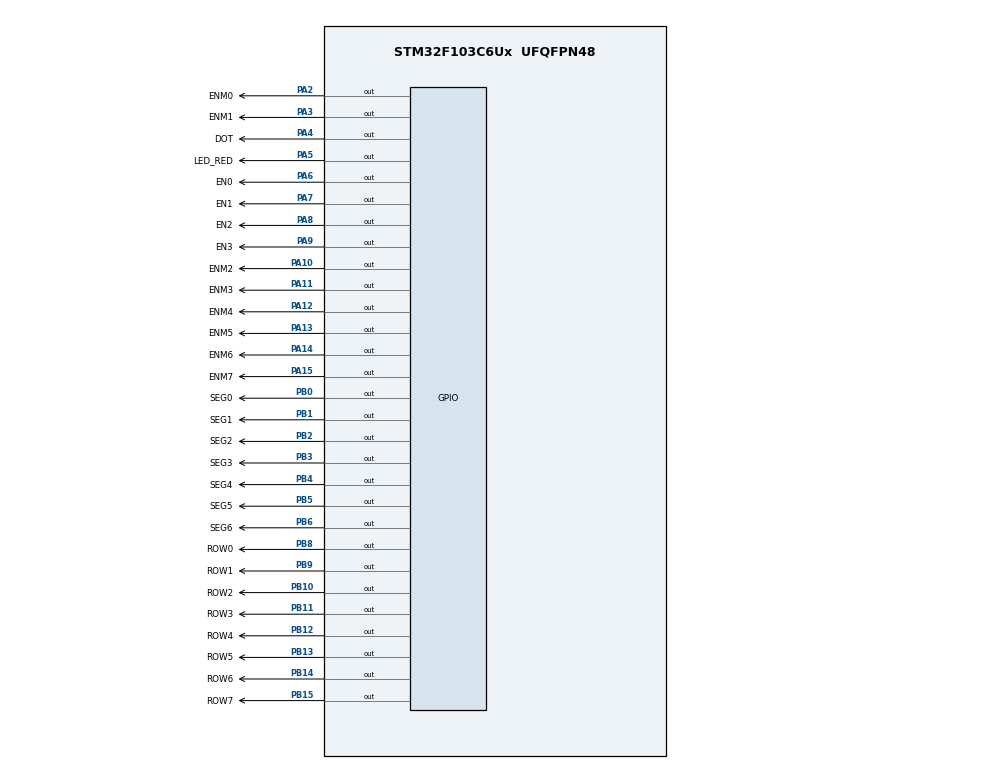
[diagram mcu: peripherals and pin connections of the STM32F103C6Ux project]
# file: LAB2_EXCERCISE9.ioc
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Mcu.Family=STM32F1
Mcu.Name=STM32F103C6Ux
Mcu.Package=UFQFPN48
NVIC.PriorityGroup=NVIC_PRIORITYGROUP_4
NVIC.TIM2_IRQn=true\:0\:0\:false\:false\:true\:true\:true
PA10.GPIO_Label=ENM2
PA10.Signal=GPIO_Output
PA11.GPIO_Label=ENM3
PA11.Signal=GPIO_Output
PA12.GPIO_Label=ENM4
PA12.Signal=GPIO_Output
PA13.GPIO_Label=ENM5
PA13.Signal=GPIO_Output
PA14.GPIO_Label=ENM6
PA14.Signal=GPIO_Output
PA15.GPIO_Label=ENM7
PA15.Signal=GPIO_Output
PA2.GPIO_Label=ENM0
PA2.Signal=GPIO_Output
PA3.GPIO_Label=ENM1
PA3.Signal=GPIO_Output
PA4.GPIO_Label=DOT
PA4.Signal=GPIO_Output
PA5.GPIO_Label=LED_RED
PA5.Signal=GPIO_Output
PA6.GPIO_Label=EN0
PA6.Signal=GPIO_Output
PA7.GPIO_Label=EN1
PA7.Signal=GPIO_Output
PA8.GPIO_Label=EN2
PA8.Signal=GPIO_Output
PA9.GPIO_Label=EN3
PA9.Signal=GPIO_Output
PB0.GPIO_Label=SEG0
PB0.Signal=GPIO_Output
PB1.GPIO_Label=SEG1
PB1.Signal=GPIO_Output
PB10.GPIO_Label=ROW2
PB10.Signal=GPIO_Output
PB11.GPIO_Label=ROW3
PB11.Signal=GPIO_Output
PB12.GPIO_Label=ROW4
PB12.Signal=GPIO_Output
PB13.GPIO_Label=ROW5
PB13.Signal=GPIO_Output
PB14.GPIO_Label=ROW6
PB14.Signal=GPIO_Output
PB15.GPIO_Label=ROW7
PB15.Signal=GPIO_Output
PB2.GPIO_Label=SEG2
PB2.Signal=GPIO_Output
PB3.GPIO_Label=SEG3
PB3.Signal=GPIO_Output
PB4.GPIO_Label=SEG4
PB4.Signal=GPIO_Output
PB5.GPIO_Label=SEG5
PB5.Signal=GPIO_Output
PB6.GPIO_Label=SEG6
PB6.Signal=GPIO_Output
PB8.GPIO_Label=ROW0
PB8.Signal=GPIO_Output
PB9.GPIO_Label=ROW1
PB9.Signal=GPIO_Output
ProjectManager.HeapSize=0x200
ProjectManager.StackSize=0x400
ProjectManager.TargetToolchain=STM32CubeIDE
RCC.APB1Freq_Value=8000000
RCC.APB2Freq_Value=8000000
TIM2.Period=9
TIM2.Prescaler=7999
VP_SYS_VS_ND.Mode=No_Debug
VP_TIM2_VS_ClockSourceINT.Mode=Internal
board=custom

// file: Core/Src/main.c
/* USER CODE BEGIN Header */
/**
  ******************************************************************************
  * @file           : main.c
  * @brief          : Main program body
  ******************************************************************************
  * @attention
  *
  * <h2><center>&copy; Copyright (c) 2025 STMicroelectronics.
  * All rights reserved.</center></h2>
  *
  * This software component is licensed by ST under BSD 3-Clause license,
  * the "License"; You may not use this file except in compliance with the
  * License. You may obtain a copy of the License at:
  *                        opensource.org/licenses/BSD-3-Clause
  *
  ******************************************************************************
  */
/* USER CODE END Header */
#include "main.h"

TIM_HandleTypeDef htim2;

/* USER CODE BEGIN PV */
int led_buffer[4] = {1,5,5,9};
int hour = 15, minute = 59, second = 55;
void display7SEG(int num) {
    switch (num) {
        case 0:
            HAL_GPIO_WritePin(GPIOB, SEG0_Pin, RESET);
            HAL_GPIO_WritePin(GPIOB, SEG1_Pin, RESET);
            HAL_GPIO_WritePin(GPIOB, SEG2_Pin, RESET);
            HAL_GPIO_WritePin(GPIOB, SEG3_Pin, RESET);
            HAL_GPIO_WritePin(GPIOB, SEG4_Pin, RESET);
            HAL_GPIO_WritePin(GPIOB, SEG5_Pin, RESET);
            HAL_GPIO_WritePin(GPIOB, SEG6_Pin, SET);  // g = off
            break;

        case 1:
            HAL_GPIO_WritePin(GPIOB, SEG0_Pin, SET);
            HAL_GPIO_WritePin(GPIOB, SEG1_Pin, RESET);
            HAL_GPIO_WritePin(GPIOB, SEG2_Pin, RESET);
            HAL_GPIO_WritePin(GPIOB, SEG3_Pin, SET);
            HAL_GPIO_WritePin(GPIOB, SEG4_Pin, SET);
            HAL_GPIO_WritePin(GPIOB, SEG5_Pin, SET);
            HAL_GPIO_WritePin(GPIOB, SEG6_Pin, SET);
            break;

        case 2:
            HAL_GPIO_WritePin(GPIOB, SEG0_Pin, RESET);
            HAL_GPIO_WritePin(GPIOB, SEG1_Pin, RESET);
            HAL_GPIO_WritePin(GPIOB, SEG2_Pin, SET);
            HAL_GPIO_WritePin(GPIOB, SEG3_Pin, RESET);
            HAL_GPIO_WritePin(GPIOB, SEG4_Pin, RESET);
            HAL_GPIO_WritePin(GPIOB, SEG5_Pin, SET);
            HAL_GPIO_WritePin(GPIOB, SEG6_Pin, RESET);
            break;

        case 3:
            HAL_GPIO_WritePin(GPIOB, SEG0_Pin, RESET);
            HAL_GPIO_WritePin(GPIOB, SEG1_Pin, RESET);
            HAL_GPIO_WritePin(GPIOB, SEG2_Pin, RESET);
            HAL_GPIO_WritePin(GPIOB, SEG3_Pin, RESET);
            HAL_GPIO_WritePin(GPIOB, SEG4_Pin, SET);
            HAL_GPIO_WritePin(GPIOB, SEG5_Pin, SET);
            HAL_GPIO_WritePin(GPIOB, SEG6_Pin, RESET);
            break;

        case 4:
            HAL_GPIO_WritePin(GPIOB, SEG0_Pin, SET);
            HAL_GPIO_WritePin(GPIOB, SEG1_Pin, RESET);
            HAL_GPIO_WritePin(GPIOB, SEG2_Pin, RESET);
            HAL_GPIO_WritePin(GPIOB, SEG3_Pin, SET);
            HAL_GPIO_WritePin(GPIOB, SEG4_Pin, SET);
            HAL_GPIO_WritePin(GPIOB, SEG5_Pin, RESET);
            HAL_GPIO_WritePin(GPIOB, SEG6_Pin, RESET);
            break;

        case 5:
            HAL_GPIO_WritePin(GPIOB, SEG0_Pin, RESET);
            HAL_GPIO_WritePin(GPIOB, SEG1_Pin, SET);
            HAL_GPIO_WritePin(GPIOB, SEG2_Pin, RESET);
            HAL_GPIO_WritePin(GPIOB, SEG3_Pin, RESET);
            HAL_GPIO_WritePin(GPIOB, SEG4_Pin, SET);
            HAL_GPIO_WritePin(GPIOB, SEG5_Pin, RESET);
            HAL_GPIO_WritePin(GPIOB, SEG6_Pin, RESET);
            break;

        case 6:
            HAL_GPIO_WritePin(GPIOB, SEG0_Pin, RESET);
            HAL_GPIO_WritePin(GPIOB, SEG1_Pin, SET);
            HAL_GPIO_WritePin(GPIOB, SEG2_Pin, RESET);
            HAL_GPIO_WritePin(GPIOB, SEG3_Pin, RESET);
            HAL_GPIO_WritePin(GPIOB, SEG4_Pin, RESET);
            HAL_GPIO_WritePin(GPIOB, SEG5_Pin, RESET);
            HAL_GPIO_WritePin(GPIOB, SEG6_Pin, RESET);
            break;

        case 7:
            HAL_GPIO_WritePin(GPIOB, SEG0_Pin, RESET);
            HAL_GPIO_WritePin(GPIOB, SEG1_Pin, RESET);
            HAL_GPIO_WritePin(GPIOB, SEG2_Pin, RESET);
            HAL_GPIO_WritePin(GPIOB, SEG3_Pin, SET);
            HAL_GPIO_WritePin(GPIOB, SEG4_Pin, SET);
            HAL_GPIO_WritePin(GPIOB, SEG5_Pin, SET);
            HAL_GPIO_WritePin(GPIOB, SEG6_Pin, SET);
            break;

        case 8:
            HAL_GPIO_WritePin(GPIOB, SEG0_Pin, RESET);
            HAL_GPIO_WritePin(GPIOB, SEG1_Pin, RESET);
            HAL_GPIO_WritePin(GPIOB, SEG2_Pin, RESET);
            HAL_GPIO_WritePin(GPIOB, SEG3_Pin, RESET);
            HAL_GPIO_WritePin(GPIOB, SEG4_Pin, RESET);
            HAL_GPIO_WritePin(GPIOB, SEG5_Pin, RESET);
            HAL_GPIO_WritePin(GPIOB, SEG6_Pin, RESET);
            break;

        case 9:
            HAL_GPIO_WritePin(GPIOB, SEG0_Pin, RESET);
            HAL_GPIO_WritePin(GPIOB, SEG1_Pin, RESET);
            HAL_GPIO_WritePin(GPIOB, SEG2_Pin, RESET);
            HAL_GPIO_WritePin(GPIOB, SEG3_Pin, RESET);
            HAL_GPIO_WritePin(GPIOB, SEG4_Pin, SET);
            HAL_GPIO_WritePin(GPIOB, SEG5_Pin, RESET);
            HAL_GPIO_WritePin(GPIOB, SEG6_Pin, RESET);
            break;

        default:
            HAL_GPIO_WritePin(GPIOB, SEG0_Pin|SEG1_Pin|SEG2_Pin|
                                       SEG3_Pin|SEG4_Pin|SEG5_Pin|SEG6_Pin, SET);
            break;
    }
}
/* USER CODE END PV */

void SystemClock_Config(void);
static void MX_GPIO_Init(void);
static void MX_TIM2_Init(void);

/* USER CODE BEGIN 0 */
int timer2_counter = 0;
int timer2_flag = 0;
int timer3_counter = 0;
int timer3_flag = 0;
int timer0_counter = 0;
int timer0_flag = 0;
int TIMER_CYCLE = 10;
int timer1_counter = 0;
int timer1_flag = 0;
void updateClockBuffer(){
	  led_buffer[0] = hour/10;
	  led_buffer[1] = hour%10;
	  led_buffer[2] = minute/10;
	  led_buffer[3] = minute%10;
}

void setTimer0(int duration ){
	timer0_counter = duration/TIMER_CYCLE;
	timer0_flag = 0;
}
void setTimer1(int duration ){
	timer1_counter = duration/TIMER_CYCLE;
	timer1_flag = 0;
}
int index_led = 0;

 void update7SEG(int index){
	  if (index >= 4) index = 0;
	  switch (index){
		  case 0:
			  // TO D0
			  HAL_GPIO_WritePin(GPIOA, EN0_Pin, RESET);
			  HAL_GPIO_WritePin(GPIOA, EN1_Pin, SET);
			  HAL_GPIO_WritePin(GPIOA, EN2_Pin, SET);
			  HAL_GPIO_WritePin(GPIOA, EN3_Pin, SET);
			  display7SEG(led_buffer[0]);
			  break;
		  case 1:
			  HAL_GPIO_WritePin(GPIOA, EN0_Pin, SET);
			  HAL_GPIO_WritePin(GPIOA, EN1_Pin, RESET);
			  HAL_GPIO_WritePin(GPIOA, EN2_Pin, SET);
			  HAL_GPIO_WritePin(GPIOA, EN3_Pin, SET);
			  display7SEG(led_buffer[1]);
			  break;
		  case 2:
			  HAL_GPIO_WritePin(GPIOA, EN0_Pin, SET);
			  HAL_GPIO_WritePin(GPIOA, EN1_Pin, SET);
			  HAL_GPIO_WritePin(GPIOA, EN2_Pin, RESET);
			  HAL_GPIO_WritePin(GPIOA, EN3_Pin, SET);
			  display7SEG(led_buffer[2]);
			  break;
		  case 3:
			  HAL_GPIO_WritePin(GPIOA, EN0_Pin, SET);
			  HAL_GPIO_WritePin(GPIOA, EN1_Pin, SET);
			  HAL_GPIO_WritePin(GPIOA, EN2_Pin, SET);
			  HAL_GPIO_WritePin(GPIOA, EN3_Pin, RESET);
			  display7SEG(led_buffer[3]);
			  break;
		  default:
			  HAL_GPIO_WritePin(GPIOA, EN0_Pin, SET);
			  HAL_GPIO_WritePin(GPIOA, EN1_Pin, SET);
			  HAL_GPIO_WritePin(GPIOA, EN2_Pin, SET);
			  HAL_GPIO_WritePin(GPIOA, EN3_Pin, SET);
			  display7SEG(0);
			  break;

	  }
  }
void setTimer2(int duration){
	  timer2_flag = 0;
	  timer2_counter = duration;
}
void setTimer3(int duration){
	  timer3_flag = 0;
	  timer3_counter = duration;
}
void time_run(){
	if (timer2_counter > 0){
		timer2_counter--;
		if (timer2_counter == 0) timer2_flag = 1;
	}
	if (timer3_counter > 0){
		timer3_counter--;
		if (timer3_counter == 0) timer3_flag = 1;
	}
	if (timer0_counter > 0){
		timer0_counter--;
		if (timer0_counter == 0) timer0_flag = 1;
	}
	if (timer1_counter > 0){
		timer1_counter--;
		if (timer1_counter == 0) timer1_flag = 1;
	}
}

/* USER CODE END 0 */

int main(void)
{

  /* MCU Configuration--------------------------------------------------------*/

  /* Reset of all peripherals, Initializes the Flash interface and the Systick. */
  HAL_Init();

  /* Configure the system clock */
  SystemClock_Config();

  /* Initialize all configured peripherals */
  MX_GPIO_Init();
  MX_TIM2_Init();
  /* USER CODE BEGIN 2 */
  HAL_TIM_Base_Start_IT(&htim2);
  /* USER CODE END 2 */

  /* Infinite loop */
  /* USER CODE BEGIN WHILE */

  const int MAX_LED_MATRIX = 8;
  int index_led_matrix = 0;
  uint8_t matrix_buffer[8] = {
		    0x18, //   00011000
		    0x24, //   00100100
		    0x42, //   01000010
		    0x42, //   01000010
		    0x7E, //   01111110
		    0x42, //   01000010
		    0x42, //   01000010
		    0x00  //   00000000
  };
  void updateLEDMatrix(int index){
	  if (index >= 8) index = 0;
	  switch(index){
	  case 0:
		  HAL_GPIO_WritePin(GPIOA, ENM0_Pin, RESET);
		  HAL_GPIO_WritePin(GPIOA, ENM1_Pin, SET);
		  HAL_GPIO_WritePin(GPIOA, ENM2_Pin,SET);
		  HAL_GPIO_WritePin(GPIOA, ENM3_Pin, SET);
		  HAL_GPIO_WritePin(GPIOA, ENM4_Pin, SET);
		  HAL_GPIO_WritePin(GPIOA, ENM5_Pin, SET);
		  HAL_GPIO_WritePin(GPIOA, ENM6_Pin, SET);
		  HAL_GPIO_WritePin(GPIOA, ENM7_Pin, SET);
		  break;
	  case 1:
		  HAL_GPIO_WritePin(GPIOA, ENM0_Pin, SET);
		  HAL_GPIO_WritePin(GPIOA, ENM1_Pin, RESET);
		  HAL_GPIO_WritePin(GPIOA, ENM2_Pin,SET);
		  HAL_GPIO_WritePin(GPIOA, ENM3_Pin, SET);
		  HAL_GPIO_WritePin(GPIOA, ENM4_Pin, SET);
		  HAL_GPIO_WritePin(GPIOA, ENM5_Pin, SET);
		  HAL_GPIO_WritePin(GPIOA, ENM6_Pin, SET);
		  HAL_GPIO_WritePin(GPIOA, ENM7_Pin, SET);
		  break;
	  case 2:
		  HAL_GPIO_WritePin(GPIOA, ENM0_Pin, SET);
		  HAL_GPIO_WritePin(GPIOA, ENM1_Pin, SET);
		  HAL_GPIO_WritePin(GPIOA, ENM2_Pin,RESET);
		  HAL_GPIO_WritePin(GPIOA, ENM3_Pin, SET);
		  HAL_GPIO_WritePin(GPIOA, ENM4_Pin, SET);
		  HAL_GPIO_WritePin(GPIOA, ENM5_Pin, SET);
		  HAL_GPIO_WritePin(GPIOA, ENM6_Pin, SET);
		  HAL_GPIO_WritePin(GPIOA, ENM7_Pin, SET);
		  break;
	  case 3:
		  HAL_GPIO_WritePin(GPIOA, ENM0_Pin, SET);
		  HAL_GPIO_WritePin(GPIOA, ENM1_Pin, SET);
		  HAL_GPIO_WritePin(GPIOA, ENM2_Pin,SET);
		  HAL_GPIO_WritePin(GPIOA, ENM3_Pin, RESET);
		  HAL_GPIO_WritePin(GPIOA, ENM4_Pin, SET);
		  HAL_GPIO_WritePin(GPIOA, ENM5_Pin, SET);
		  HAL_GPIO_WritePin(GPIOA, ENM6_Pin, SET);
		  HAL_GPIO_WritePin(GPIOA, ENM7_Pin, SET);
		  break;
	  case 4:
		  HAL_GPIO_WritePin(GPIOA, ENM0_Pin, SET);
		  HAL_GPIO_WritePin(GPIOA, ENM1_Pin, SET);
		  HAL_GPIO_WritePin(GPIOA, ENM2_Pin,SET);
		  HAL_GPIO_WritePin(GPIOA, ENM3_Pin, SET);
		  HAL_GPIO_WritePin(GPIOA, ENM4_Pin, RESET);
		  HAL_GPIO_WritePin(GPIOA, ENM5_Pin, SET);
		  HAL_GPIO_WritePin(GPIOA, ENM6_Pin, SET);
		  HAL_GPIO_WritePin(GPIOA, ENM7_Pin, SET);
		  break;
	  case 5:
		  HAL_GPIO_WritePin(GPIOA, ENM0_Pin, SET);
		  HAL_GPIO_WritePin(GPIOA, ENM1_Pin, SET);
		  HAL_GPIO_WritePin(GPIOA, ENM2_Pin,SET);
		  HAL_GPIO_WritePin(GPIOA, ENM3_Pin, SET);
		  HAL_GPIO_WritePin(GPIOA, ENM4_Pin, SET);
		  HAL_GPIO_WritePin(GPIOA, ENM5_Pin, RESET);
		  HAL_GPIO_WritePin(GPIOA, ENM6_Pin, SET);
		  HAL_GPIO_WritePin(GPIOA, ENM7_Pin, SET);
		  break;
	  case 6:
		  HAL_GPIO_WritePin(GPIOA, ENM0_Pin, SET);
		  HAL_GPIO_WritePin(GPIOA, ENM1_Pin, SET);
		  HAL_GPIO_WritePin(GPIOA, ENM2_Pin,SET);
		  HAL_GPIO_WritePin(GPIOA, ENM3_Pin, SET);
		  HAL_GPIO_WritePin(GPIOA, ENM4_Pin, SET);
		  HAL_GPIO_WritePin(GPIOA, ENM5_Pin, SET);
		  HAL_GPIO_WritePin(GPIOA, ENM6_Pin, RESET);
		  HAL_GPIO_WritePin(GPIOA, ENM7_Pin, SET);
		  break;
	  case 7:
		  HAL_GPIO_WritePin(GPIOA, ENM0_Pin, SET);
		  HAL_GPIO_WritePin(GPIOA, ENM1_Pin, SET);
		  HAL_GPIO_WritePin(GPIOA, ENM2_Pin,SET);
		  HAL_GPIO_WritePin(GPIOA, ENM3_Pin, SET);
		  HAL_GPIO_WritePin(GPIOA, ENM4_Pin, SET);
		  HAL_GPIO_WritePin(GPIOA, ENM5_Pin, SET);
		  HAL_GPIO_WritePin(GPIOA, ENM6_Pin, SET);
		  HAL_GPIO_WritePin(GPIOA, ENM7_Pin, RESET);
		  break;
	  default:
		  HAL_GPIO_WritePin(GPIOA, ENM0_Pin, SET);
		  HAL_GPIO_WritePin(GPIOA, ENM1_Pin, SET);
		  HAL_GPIO_WritePin(GPIOA, ENM2_Pin,SET);
		  HAL_GPIO_WritePin(GPIOA, ENM3_Pin, SET);
		  HAL_GPIO_WritePin(GPIOA, ENM4_Pin, SET);
		  HAL_GPIO_WritePin(GPIOA, ENM5_Pin, SET);
		  HAL_GPIO_WritePin(GPIOA, ENM6_Pin, SET);
		  HAL_GPIO_WritePin(GPIOA, ENM7_Pin, SET);
		  break;
	  }
  }
  void updateROW(int index){
	  if (index >= 8) index = index%8;
	  switch(index){
	  case 0:
		  HAL_GPIO_WritePin(GPIOB, ROW0_Pin, SET);
		  HAL_GPIO_WritePin(GPIOB, ROW1_Pin, SET);
		  HAL_GPIO_WritePin(GPIOB, ROW2_Pin,SET);
		  HAL_GPIO_WritePin(GPIOB, ROW3_Pin, SET);
		  HAL_GPIO_WritePin(GPIOB, ROW4_Pin, SET);
		  HAL_GPIO_WritePin(GPIOB, ROW5_Pin, SET);
		  HAL_GPIO_WritePin(GPIOB, ROW6_Pin, SET);
		  HAL_GPIO_WritePin(GPIOB, ROW7_Pin, SET);
		  break;
	  case 1:
		  HAL_GPIO_WritePin(GPIOB, ROW0_Pin, SET);
		  HAL_GPIO_WritePin(GPIOB, ROW1_Pin, SET);
		  HAL_GPIO_WritePin(GPIOB, ROW2_Pin,RESET);
		  HAL_GPIO_WritePin(GPIOB, ROW3_Pin, RESET);
		  HAL_GPIO_WritePin(GPIOB, ROW4_Pin, RESET);
		  HAL_GPIO_WritePin(GPIOB, ROW5_Pin, RESET);
		  HAL_GPIO_WritePin(GPIOB, ROW6_Pin, RESET);
		  HAL_GPIO_WritePin(GPIOB, ROW7_Pin, SET);
		  break;
	  case 2:
		  HAL_GPIO_WritePin(GPIOB, ROW0_Pin, SET);
		  HAL_GPIO_WritePin(GPIOB, ROW1_Pin, RESET);
		  HAL_GPIO_WritePin(GPIOB, ROW2_Pin,SET);
		  HAL_GPIO_WritePin(GPIOB, ROW3_Pin, SET);
		  HAL_GPIO_WritePin(GPIOB, ROW4_Pin, RESET);
		  HAL_GPIO_WritePin(GPIOB, ROW5_Pin, SET);
		  HAL_GPIO_WritePin(GPIOB, ROW6_Pin, SET);
		  HAL_GPIO_WritePin(GPIOB, ROW7_Pin, SET);
		  break;
	  case 3:
		  HAL_GPIO_WritePin(GPIOB, ROW0_Pin, RESET);
		  HAL_GPIO_WritePin(GPIOB, ROW1_Pin, SET);
		  HAL_GPIO_WritePin(GPIOB, ROW2_Pin,SET);
		  HAL_GPIO_WritePin(GPIOB, ROW3_Pin, SET);
		  HAL_GPIO_WritePin(GPIOB, ROW4_Pin, RESET);
		  HAL_GPIO_WritePin(GPIOB, ROW5_Pin, SET);
		  HAL_GPIO_WritePin(GPIOB, ROW6_Pin, SET);
		  HAL_GPIO_WritePin(GPIOB, ROW7_Pin, SET);
		  break;
	  case 4:
		  HAL_GPIO_WritePin(GPIOB, ROW0_Pin, RESET);
		  HAL_GPIO_WritePin(GPIOB, ROW1_Pin, SET);
		  HAL_GPIO_WritePin(GPIOB, ROW2_Pin,SET);
		  HAL_GPIO_WritePin(GPIOB, ROW3_Pin, SET);
		  HAL_GPIO_WritePin(GPIOB, ROW4_Pin, RESET);
		  HAL_GPIO_WritePin(GPIOB, ROW5_Pin, SET);
		  HAL_GPIO_WritePin(GPIOB, ROW6_Pin, SET);
		  HAL_GPIO_WritePin(GPIOB, ROW7_Pin, SET);
		  break;
	  case 5:
		  HAL_GPIO_WritePin(GPIOB, ROW0_Pin, SET);
		  HAL_GPIO_WritePin(GPIOB, ROW1_Pin, RESET);
		  HAL_GPIO_WritePin(GPIOB, ROW2_Pin,SET);
		  HAL_GPIO_WritePin(GPIOB, ROW3_Pin, SET);
		  HAL_GPIO_WritePin(GPIOB, ROW4_Pin, RESET);
		  HAL_GPIO_WritePin(GPIOB, ROW5_Pin, SET);
		  HAL_GPIO_WritePin(GPIOB, ROW6_Pin, SET);
		  HAL_GPIO_WritePin(GPIOB, ROW7_Pin, SET);
		  break;
	  case 6:
		  HAL_GPIO_WritePin(GPIOB, ROW0_Pin, SET);
		  HAL_GPIO_WritePin(GPIOB, ROW1_Pin, SET);
		  HAL_GPIO_WritePin(GPIOB, ROW2_Pin, RESET);
		  HAL_GPIO_WritePin(GPIOB, ROW3_Pin, RESET);
		  HAL_GPIO_WritePin(GPIOB, ROW4_Pin, RESET);
		  HAL_GPIO_WritePin(GPIOB, ROW5_Pin, RESET);
		  HAL_GPIO_WritePin(GPIOB, ROW6_Pin, RESET);
		  HAL_GPIO_WritePin(GPIOB, ROW7_Pin, SET);
		  break;
	  case 7:
		  HAL_GPIO_WritePin(GPIOB, ROW0_Pin, SET);
		  HAL_GPIO_WritePin(GPIOB, ROW1_Pin, SET);
		  HAL_GPIO_WritePin(GPIOB, ROW2_Pin,SET);
		  HAL_GPIO_WritePin(GPIOB, ROW3_Pin, SET);
		  HAL_GPIO_WritePin(GPIOB, ROW4_Pin, SET);
		  HAL_GPIO_WritePin(GPIOB, ROW5_Pin, SET);
		  HAL_GPIO_WritePin(GPIOB, ROW6_Pin, SET);
		  HAL_GPIO_WritePin(GPIOB, ROW7_Pin, SET);
		  break;
	  default:
		  HAL_GPIO_WritePin(GPIOB, ROW0_Pin, SET);
		  HAL_GPIO_WritePin(GPIOB, ROW1_Pin, SET);
		  HAL_GPIO_WritePin(GPIOB, ROW2_Pin,SET);
		  HAL_GPIO_WritePin(GPIOB, ROW3_Pin, SET);
		  HAL_GPIO_WritePin(GPIOB, ROW4_Pin, SET);
		  HAL_GPIO_WritePin(GPIOB, ROW5_Pin, SET);
		  HAL_GPIO_WritePin(GPIOB, ROW6_Pin, SET);
		  HAL_GPIO_WritePin(GPIOB, ROW7_Pin, SET);
		  break;
	  }
  }

  setTimer2(2);
  int index_col = 0;
  setTimer3(100);
  int shift_col = 0;
  setTimer0(1000);
  setTimer1(1000);
  while (1)
  {
		if (timer0_flag == 1){
			  setTimer0(1000);
			  HAL_GPIO_TogglePin(GPIOA, LED_RED_Pin);
			  HAL_GPIO_TogglePin(GPIOA, DOT_Pin);
			  second++;
			  if ( second >= 60) {
				  second = 0;
				  minute ++;
			  }
			  if ( minute >= 60) {
				  minute = 0;
				  hour ++;
			  }
			  if (hour >= 24){
				  hour = 0;
			  }
			  updateClockBuffer();
		}
		if (timer1_flag == 1){
			setTimer1(250);
			update7SEG(index_led++);
			if (index_led >=4) index_led = 0;
		}
	  if (timer2_flag == 1){
		  setTimer2(2);
		  updateLEDMatrix(index_col);
		  updateROW(index_col + shift_col);
		  index_col++;
		  if (index_col >=8) index_col = 0;
	  }
	  if (timer3_flag == 1){
		  setTimer3(100);
		  shift_col++;
		  if (shift_col >=8) shift_col = 0;
	  }

    /* USER CODE END WHILE */

  }
}

void SystemClock_Config(void)
{
  RCC_OscInitTypeDef RCC_OscInitStruct = {0};
  RCC_ClkInitTypeDef RCC_ClkInitStruct = {0};

  /** Initializes the RCC Oscillators according to the specified parameters
  * in the RCC_OscInitTypeDef structure.
  */
  RCC_OscInitStruct.OscillatorType = RCC_OSCILLATORTYPE_HSI;
  RCC_OscInitStruct.HSIState = RCC_HSI_ON;
  RCC_OscInitStruct.HSICalibrationValue = RCC_HSICALIBRATION_DEFAULT;
  RCC_OscInitStruct.PLL.PLLState = RCC_PLL_NONE;
  if (HAL_RCC_OscConfig(&RCC_OscInitStruct) != HAL_OK)
  {
    Error_Handler();
  }
  /** Initializes the CPU, AHB and APB buses clocks
  */
  RCC_ClkInitStruct.ClockType = RCC_CLOCKTYPE_HCLK|RCC_CLOCKTYPE_SYSCLK
                              |RCC_CLOCKTYPE_PCLK1|RCC_CLOCKTYPE_PCLK2;
  RCC_ClkInitStruct.SYSCLKSource = RCC_SYSCLKSOURCE_HSI;
  RCC_ClkInitStruct.AHBCLKDivider = RCC_SYSCLK_DIV1;
  RCC_ClkInitStruct.APB1CLKDivider = RCC_HCLK_DIV1;
  RCC_ClkInitStruct.APB2CLKDivider = RCC_HCLK_DIV1;

  if (HAL_RCC_ClockConfig(&RCC_ClkInitStruct, FLASH_LATENCY_0) != HAL_OK)
  {
    Error_Handler();
  }
}

static void MX_TIM2_Init(void)
{

  TIM_ClockConfigTypeDef sClockSourceConfig = {0};
  TIM_MasterConfigTypeDef sMasterConfig = {0};

  htim2.Instance = TIM2;
  htim2.Init.Prescaler = 7999;
  htim2.Init.CounterMode = TIM_COUNTERMODE_UP;
  htim2.Init.Period = 9;
  htim2.Init.ClockDivision = TIM_CLOCKDIVISION_DIV1;
  htim2.Init.AutoReloadPreload = TIM_AUTORELOAD_PRELOAD_DISABLE;
  if (HAL_TIM_Base_Init(&htim2) != HAL_OK)
  {
    Error_Handler();
  }
  sClockSourceConfig.ClockSource = TIM_CLOCKSOURCE_INTERNAL;
  if (HAL_TIM_ConfigClockSource(&htim2, &sClockSourceConfig) != HAL_OK)
  {
    Error_Handler();
  }
  sMasterConfig.MasterOutputTrigger = TIM_TRGO_RESET;
  sMasterConfig.MasterSlaveMode = TIM_MASTERSLAVEMODE_DISABLE;
  if (HAL_TIMEx_MasterConfigSynchronization(&htim2, &sMasterConfig) != HAL_OK)
  {
    Error_Handler();
  }

}

static void MX_GPIO_Init(void)
{
  GPIO_InitTypeDef GPIO_InitStruct = {0};

  /* GPIO Ports Clock Enable */
  __HAL_RCC_GPIOA_CLK_ENABLE();
  __HAL_RCC_GPIOB_CLK_ENABLE();

  /*Configure GPIO pin Output Level */
  HAL_GPIO_WritePin(GPIOA, ENM0_Pin|ENM1_Pin|DOT_Pin|LED_RED_Pin
                          |EN0_Pin|EN1_Pin|EN2_Pin|EN3_Pin
                          |ENM2_Pin|ENM3_Pin|ENM4_Pin|ENM5_Pin
                          |ENM6_Pin|ENM7_Pin, GPIO_PIN_RESET);

  /*Configure GPIO pin Output Level */
  HAL_GPIO_WritePin(GPIOB, SEG0_Pin|SEG1_Pin|SEG2_Pin|ROW2_Pin
                          |ROW3_Pin|ROW4_Pin|ROW5_Pin|ROW6_Pin
                          |ROW7_Pin|SEG3_Pin|SEG4_Pin|SEG5_Pin
                          |SEG6_Pin|ROW0_Pin|ROW1_Pin, GPIO_PIN_RESET);

  /*Configure GPIO pins : ENM0_Pin ENM1_Pin DOT_Pin LED_RED_Pin
                           EN0_Pin EN1_Pin EN2_Pin EN3_Pin
                           ENM2_Pin ENM3_Pin ENM4_Pin ENM5_Pin
                           ENM6_Pin ENM7_Pin */
  GPIO_InitStruct.Pin = ENM0_Pin|ENM1_Pin|DOT_Pin|LED_RED_Pin
                          |EN0_Pin|EN1_Pin|EN2_Pin|EN3_Pin
                          |ENM2_Pin|ENM3_Pin|ENM4_Pin|ENM5_Pin
                          |ENM6_Pin|ENM7_Pin;
  GPIO_InitStruct.Mode = GPIO_MODE_OUTPUT_PP;
  GPIO_InitStruct.Pull = GPIO_NOPULL;
  GPIO_InitStruct.Speed = GPIO_SPEED_FREQ_LOW;
  HAL_GPIO_Init(GPIOA, &GPIO_InitStruct);

  /*Configure GPIO pins : SEG0_Pin SEG1_Pin SEG2_Pin ROW2_Pin
                           ROW3_Pin ROW4_Pin ROW5_Pin ROW6_Pin
                           ROW7_Pin SEG3_Pin SEG4_Pin SEG5_Pin
                           SEG6_Pin ROW0_Pin ROW1_Pin */
  GPIO_InitStruct.Pin = SEG0_Pin|SEG1_Pin|SEG2_Pin|ROW2_Pin
                          |ROW3_Pin|ROW4_Pin|ROW5_Pin|ROW6_Pin
                          |ROW7_Pin|SEG3_Pin|SEG4_Pin|SEG5_Pin
                          |SEG6_Pin|ROW0_Pin|ROW1_Pin;
  GPIO_InitStruct.Mode = GPIO_MODE_OUTPUT_PP;
  GPIO_InitStruct.Pull = GPIO_NOPULL;
  GPIO_InitStruct.Speed = GPIO_SPEED_FREQ_LOW;
  HAL_GPIO_Init(GPIOB, &GPIO_InitStruct);

}

/* USER CODE BEGIN 4 */
void HAL_TIM_PeriodElapsedCallback ( TIM_HandleTypeDef * htim ){
	time_run();
}
/* USER CODE END 4 */

void Error_Handler(void)
{
  __disable_irq();
  while (1)
  {
  }
}

/************************ (C) COPYRIGHT STMicroelectronics *****END OF FILE****/
